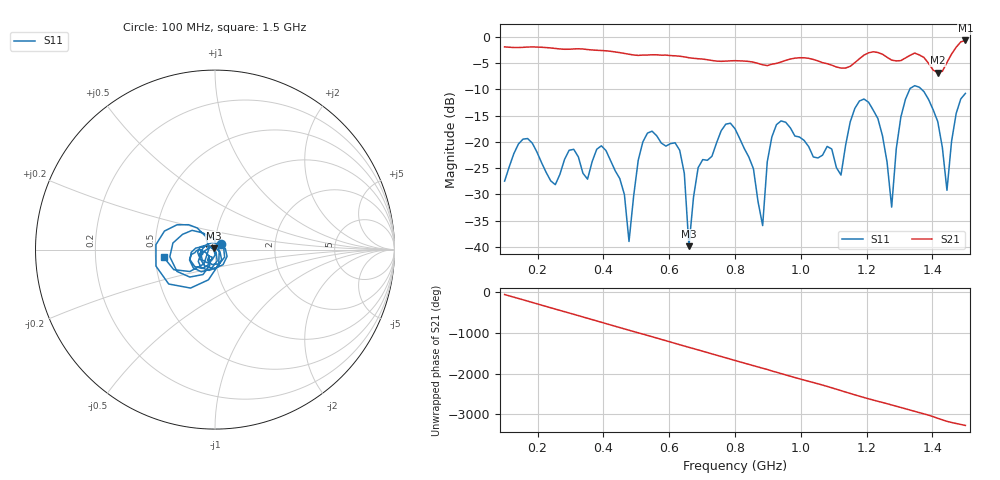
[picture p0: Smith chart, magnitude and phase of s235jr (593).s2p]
! NanoVNA-App
! Date: 2025-09-25 15:08:47
! Start: 100MHz Stop: 1,5GHz Points: 101
! S-Parameter data: F S11 S21 S12 S22
# Hz S RI R 50
!  Frequency  S11_Real  S11_Imag  S21_Real  S21_Imag  S12_Real  S12_Imag  S22_Real  S22_Imag
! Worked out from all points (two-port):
!   101 points, 100 MHz to 1.5 GHz, reference 50 ohm
!   highest |S21| = -0.74 dB at 1.5 GHz (marker M1); lowest = -6.9 dB at 1.416 GHz (marker M2)
!   |S21| within 3 dB of the highest: start of sweep to 632.7 MHz; 1.188 GHz to 1.257 GHz (69.69 MHz wide, 5.7 % of centre)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
!   lowest |S11| = -39.8 dB at 660 MHz (marker M3), VSWR 1.02, Z = 49.2 + j0.642 ohm
!   |S11| at or under -10 dB: start of sweep to 1.331 GHz; 1.366 GHz to end of sweep
!   S12 and S22 are empty: the file has one direction only
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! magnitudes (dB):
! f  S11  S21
! 100 MHz  -27.5  -2.0
! 170 MHz  -19.4  -2.0
! 338 MHz  -26.0  -2.4
! 408 MHz  -21.7  -2.7
! 478 MHz  -38.9  -3.4
! 520 MHz  -20.0  -3.5
! 576 MHz  -20.2  -3.5
! 632 MHz  -21.6  -3.7
! 660 MHz  -39.8  -4.0
! 688 MHz  -24.9  -4.2
! 800 MHz  -17.5  -4.6
! 884 MHz  -35.9  -5.4
! 926 MHz  -16.7  -5.1
! 1.038 GHz  -22.9  -4.4
! 1.122 GHz  -26.3  -6.0
! 1.192 GHz  -11.9  -3.5
! 1.248 GHz  -18.8  -3.4
! 1.276 GHz  -32.4  -4.5
! 1.332 GHz  -9.9  -3.6
! 1.416 GHz  -16.1  -6.9
! 1.444 GHz  -29.2  -4.9
! 1.5 GHz  -10.8  -0.7
